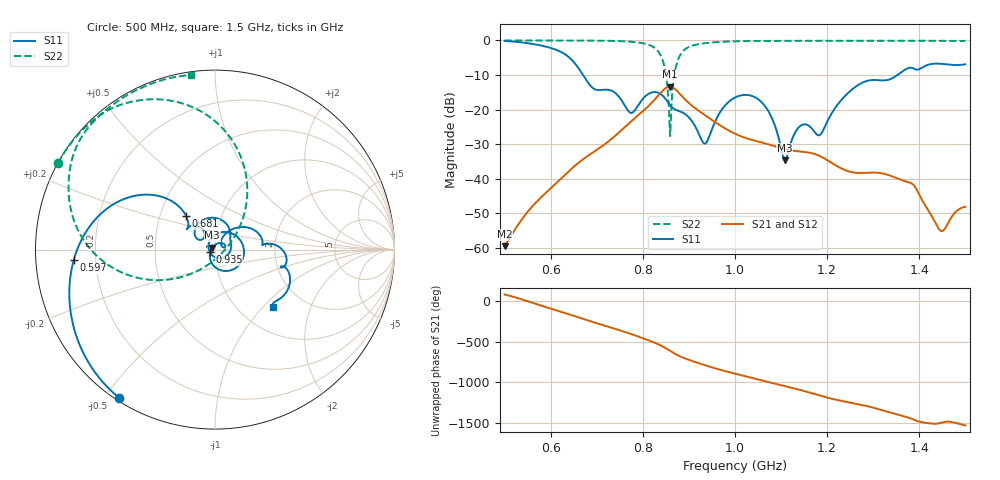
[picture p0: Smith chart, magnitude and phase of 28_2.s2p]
! TOUCHSTONE file generated by CST MICROWAVE STUDIO
! Date and time: Fri Oct  2 16:20:43 2020
! Project name: Scenario_1_Free_Space_out_of_line.cst
! Parameters = {Lambda=346.42; Step_1=17.321; dy1=-120.567; dx1=346; L_HA=400; MT=2.54; Rad_Dielectric=30; Rad_Lower=7.3; Rad_Upper=30; a_HA=580; a_WG=246; b_HA=500; b_WG=121; c_HA=0; c_WG=187; d_feed=85; h_feed=15; h_lower=18; h_upper=40}
! Header version: 2018
! Port assignment regex: !\s*Touchstone port\s*([0-9]+)\s*=\s*(CST MWS port|CST DS port)\s*([0-9]+|Zmin|Zmax)\s*\(\"(.*)\"\)(\s*mode\s*([0-9]+))?.*
! Touchstone port assignment:
! Touchstone port 1 = CST MWS port 1 ("")
! Touchstone port 2 = CST MWS port 2 ("")
# GHz S DB R 50
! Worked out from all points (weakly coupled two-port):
!   1003 points, 500 MHz to 1.5 GHz, reference 50 ohm
!   highest |S21| = -13.34 dB at 858 MHz (marker M1); lowest = -59.5 dB at 500 MHz (marker M2)
!   lowest |S11| = -34.6 dB at 1.108 GHz (marker M3), VSWR 1.04, Z = 48.4 + j0.972 ohm
!   |S11| at or under -10 dB: 670.2 MHz to 1.352 GHz (682.3 MHz wide, 67.5 % of centre)
!   |S22| runs from -27.6 to 0.0 dB; largest |S21 - S12| = 4.5e-06
!   S11 on the Smith chart (normalised r, x): 500 MHz: 0.01, -0.54; 597 MHz: 0.12, -0.04; 681 MHz: 0.68, +0.27; 935 MHz: 0.94, -0.03; 1.5 GHz: 1.42, -1.13
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0.5  -0.14 -122.9  -59.46 78.0  -59.46 78.0  -0.01 151.1
0.597  -2.06 -175.8  -43.11 -89.4  -43.10 -89.5  -0.02 144.3
0.638  -4.68 151.4  -37.95 -161.5  -37.95 -161.5  -0.03 140.9
0.667  -9.34 130.8  -34.68 144.9  -34.68 144.9  -0.04 138.3
0.681  -12.20 130.8  -33.34 119.1  -33.34 119.1  -0.05 136.8
0.774  -20.95 135.3  -23.47 -46.5  -23.47 -46.5  -0.38 121.9
0.834  -15.15 86.5  -15.84 -175.4  -15.84 -175.4  -3.27 87.2
0.847  -16.53 60.6  -14.04 146.7  -14.04 146.7  -7.64 64.6
0.858  -18.51 43.8  -13.34 109.2  -13.34 109.2  -24.59 2.5
0.881  -20.53 16.9  -15.55 37.2  -15.55 37.2  -4.24 -172.9
0.935  -29.81 -154.6  -21.62 -71.9  -21.62 -71.9  -0.79 152.9
1  -16.49 21.0  -26.95 -174.9  -26.95 -174.9  -0.25 140.3
1.063  -18.63 -76.2  -29.68 95.8  -29.68 95.8  -0.15 133.0
1.108  -34.59 147.4  -31.40 31.3  -31.40 31.3  -0.12 128.9
1.138  -25.16 38.8  -32.07 -10.6  -32.07 -10.6  -0.11 126.4
1.167  -25.49 12.5  -32.61 -56.1  -32.61 -56.1  -0.10 124.1
1.186  -27.11 39.0  -33.55 -87.7  -33.55 -87.7  -0.10 122.6
1.267  -12.91 32.3  -38.30 170.3  -38.30 170.3  -0.09 116.4
1.334  -11.33 5.9  -38.95 71.7  -38.95 71.7  -0.09 111.4
1.388  -8.13 -14.5  -41.85 -21.6  -41.85 -21.6  -0.09 107.2
1.447  -6.75 -34.1  -55.06 -60.1  -55.06 -60.1  -0.12 102.3
1.5  -6.90 -44.6  -48.08 -92.3  -48.08 -92.3  -0.15 97.8
